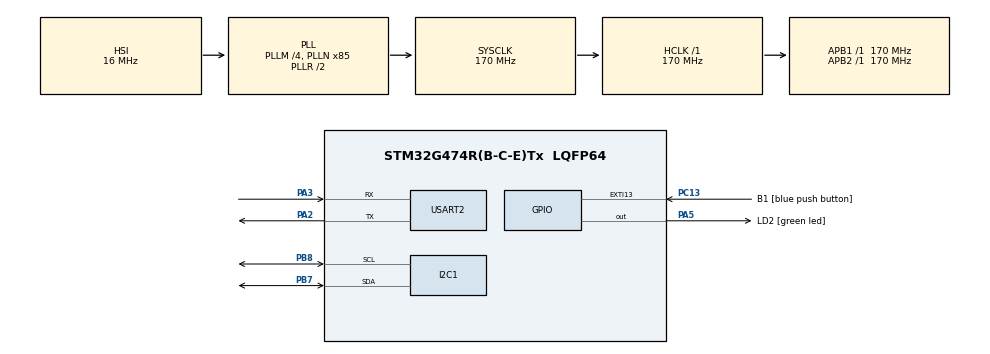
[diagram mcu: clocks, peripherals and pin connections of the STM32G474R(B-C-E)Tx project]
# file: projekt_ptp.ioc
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I2C1.Timing=0x30A0A7FB
Mcu.Family=STM32G4
Mcu.Name=STM32G474R(B-C-E)Tx
Mcu.Package=LQFP64
NVIC.EXTI15_10_IRQn=true\:0\:0\:false\:true\:true\:5\:true\:true\:true
NVIC.I2C1_ER_IRQn=true\:0\:0\:false\:true\:true\:3\:true\:true\:true
NVIC.I2C1_EV_IRQn=true\:0\:0\:false\:true\:true\:2\:true\:true\:true
NVIC.PriorityGroup=NVIC_PRIORITYGROUP_4
NVIC.RCC_IRQn=true\:0\:0\:false\:true\:true\:1\:true\:false\:true
NVIC.TIM6_DAC_IRQn=true\:0\:0\:false\:true\:true\:6\:true\:true\:true
NVIC.USART2_IRQn=true\:0\:0\:false\:true\:true\:4\:true\:true\:true
PA13.GPIO_Label=T_SWDIO
PA13.Mode=Serial_Wire
PA13.Signal=SYS_JTMS-SWDIO
PA14.GPIO_Label=T_SWCLK
PA14.Mode=Serial_Wire
PA14.Signal=SYS_JTCK-SWCLK
PA2.Mode=Asynchronous
PA2.Signal=USART2_TX
PA3.Mode=Asynchronous
PA3.Signal=USART2_RX
PA5.GPIO_Label=LD2 [green led]
PA5.Signal=GPIO_Output
PB3.GPIO_Label=T_SWO
PB3.Signal=SYS_JTDO-SWO
PB7.Mode=I2C
PB7.Signal=I2C1_SDA
PB8-BOOT0.Mode=I2C
PB8-BOOT0.Signal=I2C1_SCL
PC13.GPIO_Label=B1 [blue push button]
PC13.Signal=GPXTI13
PC14-OSC32_IN.Mode=LSE-External-Oscillator
PC14-OSC32_IN.Signal=RCC_OSC32_IN
PC15-OSC32_OUT.Mode=LSE-External-Oscillator
PC15-OSC32_OUT.Signal=RCC_OSC32_OUT
PF0-OSC_IN.Mode=HSE-External-Oscillator
PF0-OSC_IN.Signal=RCC_OSC_IN
PF1-OSC_OUT.Mode=HSE-External-Oscillator
PF1-OSC_OUT.Signal=RCC_OSC_OUT
ProjectManager.HeapSize=0x200
ProjectManager.StackSize=0x400
ProjectManager.TargetToolchain=STM32CubeIDE
RCC.ADC12Freq_Value=170000000
RCC.ADC345Freq_Value=170000000
RCC.AHBFreq_Value=170000000
RCC.APB1Freq_Value=170000000
RCC.APB1TimFreq_Value=170000000
RCC.APB2Freq_Value=170000000
RCC.APB2TimFreq_Value=170000000
RCC.CortexFreq_Value=170000000
RCC.EXTERNAL_CLOCK_VALUE=12288000
RCC.HCLKFreq_Value=170000000
RCC.HSE_VALUE=24000000
RCC.HSI48_VALUE=48000000
RCC.HSI_VALUE=16000000
RCC.PLLM=RCC_PLLM_DIV4
RCC.PLLN=85
RCC.RTCClockSelection=RCC_RTCCLKSOURCE_LSE
RCC.SYSCLKFreq_VALUE=170000000
RCC.SYSCLKSource=RCC_SYSCLKSOURCE_PLLCLK
RCC.USBFreq_Value=170000000
RCC.VCOOutputFreq_Value=340000000
TIM6.PeriodNoDither=9999
TIM6.Prescaler=16999
USART2.VirtualMode-Asynchronous=VM_ASYNC
VP_SYS_VS_DBSignals.Mode=DisableDeadBatterySignals
VP_TIM6_VS_ClockSourceINT.Mode=Enable_Timer
board=NUCLEO-G474RE

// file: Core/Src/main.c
/* USER CODE BEGIN Header */
/**
  ******************************************************************************
  * @file           : main.c
  * @brief          : Main program body
  ******************************************************************************
  * @attention
  *
  * Copyright (c) 2024 STMicroelectronics.
  * All rights reserved.
  *
  * This software is licensed under terms that can be found in the LICENSE file
  * in the root directory of this software component.
  * If no LICENSE file comes with this software, it is provided AS-IS.
  *
  ******************************************************************************
  */
/* USER CODE END Header */
#include "main.h"

/* USER CODE BEGIN Includes */
#include "bmp280.h"
#include <stdio.h>
#include <string.h>
/* USER CODE END Includes */

I2C_HandleTypeDef hi2c1;

TIM_HandleTypeDef htim6;

UART_HandleTypeDef huart2;

/* USER CODE BEGIN PV */
BMP280_HandleTypedef bmp280;
bmp280_params_t bmp280_params;
int32_t temperature;
/* USER CODE END PV */

void SystemClock_Config(void);
static void MX_GPIO_Init(void);
static void MX_I2C1_Init(void);
static void MX_USART2_UART_Init(void);
static void MX_TIM6_Init(void);
static void MX_NVIC_Init(void);

int main(void)
{

  /* MCU Configuration--------------------------------------------------------*/

  /* Reset of all peripherals, Initializes the Flash interface and the Systick. */
  HAL_Init();

  /* Configure the system clock */
  SystemClock_Config();

  /* Initialize all configured peripherals */
  MX_GPIO_Init();
  MX_I2C1_Init();
  MX_USART2_UART_Init();
  MX_TIM6_Init();

  /* Initialize interrupts */
  MX_NVIC_Init();
  /* USER CODE BEGIN 2 */
  HAL_TIM_Base_Start_IT(&htim6);
  bmp280.addr = BMP280_I2C_ADDRESS_0;
  bmp280.i2c = &hi2c1;
  bmp280_init_default_params(&bmp280_params);

  if (!bmp280_init(&bmp280, &bmp280_params)) {
      char msg[] = "BMP280 initialization failed\r\n";
      HAL_UART_Transmit(&huart2, (uint8_t*)msg, strlen(msg), HAL_MAX_DELAY);
      while (1);
  }

  /* USER CODE END 2 */

  /* Infinite loop */
  while (1)
  {

  }
}

void SystemClock_Config(void)
{
  RCC_OscInitTypeDef RCC_OscInitStruct = {0};
  RCC_ClkInitTypeDef RCC_ClkInitStruct = {0};

  /** Configure the main internal regulator output voltage
  */
  HAL_PWREx_ControlVoltageScaling(PWR_REGULATOR_VOLTAGE_SCALE1_BOOST);

  /** Initializes the RCC Oscillators according to the specified parameters
  * in the RCC_OscInitTypeDef structure.
  */
  RCC_OscInitStruct.OscillatorType = RCC_OSCILLATORTYPE_HSI;
  RCC_OscInitStruct.HSIState = RCC_HSI_ON;
  RCC_OscInitStruct.HSICalibrationValue = RCC_HSICALIBRATION_DEFAULT;
  RCC_OscInitStruct.PLL.PLLState = RCC_PLL_ON;
  RCC_OscInitStruct.PLL.PLLSource = RCC_PLLSOURCE_HSI;
  RCC_OscInitStruct.PLL.PLLM = RCC_PLLM_DIV4;
  RCC_OscInitStruct.PLL.PLLN = 85;
  RCC_OscInitStruct.PLL.PLLP = RCC_PLLP_DIV2;
  RCC_OscInitStruct.PLL.PLLQ = RCC_PLLQ_DIV2;
  RCC_OscInitStruct.PLL.PLLR = RCC_PLLR_DIV2;
  if (HAL_RCC_OscConfig(&RCC_OscInitStruct) != HAL_OK)
  {
    Error_Handler();
  }

  /** Initializes the CPU, AHB and APB buses clocks
  */
  RCC_ClkInitStruct.ClockType = RCC_CLOCKTYPE_HCLK|RCC_CLOCKTYPE_SYSCLK
                              |RCC_CLOCKTYPE_PCLK1|RCC_CLOCKTYPE_PCLK2;
  RCC_ClkInitStruct.SYSCLKSource = RCC_SYSCLKSOURCE_PLLCLK;
  RCC_ClkInitStruct.AHBCLKDivider = RCC_SYSCLK_DIV1;
  RCC_ClkInitStruct.APB1CLKDivider = RCC_HCLK_DIV1;
  RCC_ClkInitStruct.APB2CLKDivider = RCC_HCLK_DIV1;

  if (HAL_RCC_ClockConfig(&RCC_ClkInitStruct, FLASH_LATENCY_4) != HAL_OK)
  {
    Error_Handler();
  }
}

/**
  * @brief NVIC Configuration.
  * @retval None
  */
static void MX_NVIC_Init(void)
{
  /* RCC_IRQn interrupt configuration */
  HAL_NVIC_SetPriority(RCC_IRQn, 0, 0);
  HAL_NVIC_EnableIRQ(RCC_IRQn);
  /* I2C1_EV_IRQn interrupt configuration */
  HAL_NVIC_SetPriority(I2C1_EV_IRQn, 0, 0);
  HAL_NVIC_EnableIRQ(I2C1_EV_IRQn);
  /* I2C1_ER_IRQn interrupt configuration */
  HAL_NVIC_SetPriority(I2C1_ER_IRQn, 0, 0);
  HAL_NVIC_EnableIRQ(I2C1_ER_IRQn);
  /* USART2_IRQn interrupt configuration */
  HAL_NVIC_SetPriority(USART2_IRQn, 0, 0);
  HAL_NVIC_EnableIRQ(USART2_IRQn);
  /* EXTI15_10_IRQn interrupt configuration */
  HAL_NVIC_SetPriority(EXTI15_10_IRQn, 0, 0);
  HAL_NVIC_EnableIRQ(EXTI15_10_IRQn);
  /* TIM6_DAC_IRQn interrupt configuration */
  HAL_NVIC_SetPriority(TIM6_DAC_IRQn, 0, 0);
  HAL_NVIC_EnableIRQ(TIM6_DAC_IRQn);
}

static void MX_I2C1_Init(void)
{

  hi2c1.Instance = I2C1;
  hi2c1.Init.Timing = 0x30A0A7FB;
  hi2c1.Init.OwnAddress1 = 0;
  hi2c1.Init.AddressingMode = I2C_ADDRESSINGMODE_7BIT;
  hi2c1.Init.DualAddressMode = I2C_DUALADDRESS_DISABLE;
  hi2c1.Init.OwnAddress2 = 0;
  hi2c1.Init.OwnAddress2Masks = I2C_OA2_NOMASK;
  hi2c1.Init.GeneralCallMode = I2C_GENERALCALL_DISABLE;
  hi2c1.Init.NoStretchMode = I2C_NOSTRETCH_DISABLE;
  if (HAL_I2C_Init(&hi2c1) != HAL_OK)
  {
    Error_Handler();
  }

  /** Configure Analogue filter
  */
  if (HAL_I2CEx_ConfigAnalogFilter(&hi2c1, I2C_ANALOGFILTER_ENABLE) != HAL_OK)
  {
    Error_Handler();
  }

  /** Configure Digital filter
  */
  if (HAL_I2CEx_ConfigDigitalFilter(&hi2c1, 0) != HAL_OK)
  {
    Error_Handler();
  }

}

static void MX_TIM6_Init(void)
{

  TIM_MasterConfigTypeDef sMasterConfig = {0};

  htim6.Instance = TIM6;
  htim6.Init.Prescaler = 16999;
  htim6.Init.CounterMode = TIM_COUNTERMODE_UP;
  htim6.Init.Period = 9999;
  htim6.Init.AutoReloadPreload = TIM_AUTORELOAD_PRELOAD_DISABLE;
  if (HAL_TIM_Base_Init(&htim6) != HAL_OK)
  {
    Error_Handler();
  }
  sMasterConfig.MasterOutputTrigger = TIM_TRGO_RESET;
  sMasterConfig.MasterSlaveMode = TIM_MASTERSLAVEMODE_DISABLE;
  if (HAL_TIMEx_MasterConfigSynchronization(&htim6, &sMasterConfig) != HAL_OK)
  {
    Error_Handler();
  }

}

static void MX_USART2_UART_Init(void)
{

  huart2.Instance = USART2;
  huart2.Init.BaudRate = 115200;
  huart2.Init.WordLength = UART_WORDLENGTH_8B;
  huart2.Init.StopBits = UART_STOPBITS_1;
  huart2.Init.Parity = UART_PARITY_NONE;
  huart2.Init.Mode = UART_MODE_TX_RX;
  huart2.Init.HwFlowCtl = UART_HWCONTROL_NONE;
  huart2.Init.OverSampling = UART_OVERSAMPLING_16;
  huart2.Init.OneBitSampling = UART_ONE_BIT_SAMPLE_DISABLE;
  huart2.Init.ClockPrescaler = UART_PRESCALER_DIV1;
  huart2.AdvancedInit.AdvFeatureInit = UART_ADVFEATURE_NO_INIT;
  if (HAL_UART_Init(&huart2) != HAL_OK)
  {
    Error_Handler();
  }
  if (HAL_UARTEx_SetTxFifoThreshold(&huart2, UART_TXFIFO_THRESHOLD_1_8) != HAL_OK)
  {
    Error_Handler();
  }
  if (HAL_UARTEx_SetRxFifoThreshold(&huart2, UART_RXFIFO_THRESHOLD_1_8) != HAL_OK)
  {
    Error_Handler();
  }
  if (HAL_UARTEx_DisableFifoMode(&huart2) != HAL_OK)
  {
    Error_Handler();
  }

}

static void MX_GPIO_Init(void)
{
  GPIO_InitTypeDef GPIO_InitStruct = {0};

  /* GPIO Ports Clock Enable */
  __HAL_RCC_GPIOC_CLK_ENABLE();
  __HAL_RCC_GPIOF_CLK_ENABLE();
  __HAL_RCC_GPIOA_CLK_ENABLE();
  __HAL_RCC_GPIOB_CLK_ENABLE();

  /*Configure GPIO pin Output Level */
  HAL_GPIO_WritePin(LD2_GPIO_Port, LD2_Pin, GPIO_PIN_RESET);

  /*Configure GPIO pin : B1_Pin */
  GPIO_InitStruct.Pin = B1_Pin;
  GPIO_InitStruct.Mode = GPIO_MODE_IT_RISING;
  GPIO_InitStruct.Pull = GPIO_NOPULL;
  HAL_GPIO_Init(B1_GPIO_Port, &GPIO_InitStruct);

  /*Configure GPIO pin : LD2_Pin */
  GPIO_InitStruct.Pin = LD2_Pin;
  GPIO_InitStruct.Mode = GPIO_MODE_OUTPUT_PP;
  GPIO_InitStruct.Pull = GPIO_NOPULL;
  GPIO_InitStruct.Speed = GPIO_SPEED_FREQ_LOW;
  HAL_GPIO_Init(LD2_GPIO_Port, &GPIO_InitStruct);

}

/* USER CODE BEGIN 4 */
void HAL_TIM_PeriodElapsedCallback(TIM_HandleTypeDef *htim)
{
	if(htim->Instance==TIM6)
	{
	      if (bmp280_read_fixed_temperature(&bmp280, &temperature)) {
	          char msg[64];
	          sprintf(msg, "Temperature: %ld.%02ld C\r\n", temperature / 100, temperature % 100);
	          HAL_UART_Transmit(&huart2, (uint8_t*)msg, strlen(msg), HAL_MAX_DELAY);
	      } else {
	          char msg[] = "Temperature read failed\r\n";
	          HAL_UART_Transmit(&huart2, (uint8_t*)msg, strlen(msg), HAL_MAX_DELAY);
	      }
	}
}
/* USER CODE END 4 */

void Error_Handler(void)
{
  __disable_irq();
  while (1)
  {
  }
}
